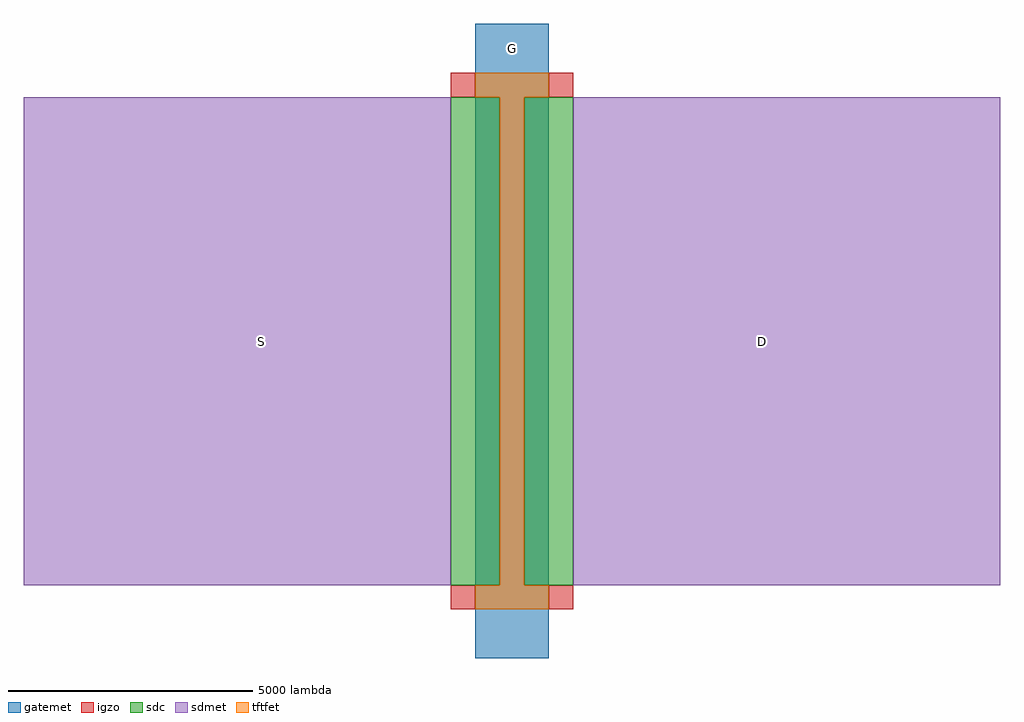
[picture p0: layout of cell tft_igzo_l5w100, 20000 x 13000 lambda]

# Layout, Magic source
magic
tech igzo_mmm_lab
<< igzo >>
rect -1250 5000 -750 5500
rect 750 5000 1250 5500
rect -1250 -5500 -750 -5000
rect 750 -5500 1250 -5000
<< tftfet >>
rect -750 5000 750 5500
rect -250 -5000 250 5000
rect -750 -5500 750 -5000
<< sdc >>
rect -1250 -5000 -250 5000
rect 250 -5000 1250 5000
<< sdmet >>
rect -10000 -5000 -1250 5000
rect 1250 -5000 10000 5000
<< gatemet >>
rect -750 -6500 750 6500
<< labels >>
rlabel sdmet s -5613 -488 -4637 488 4 S
port 3 nsew
rlabel sdmet s 4637 -488 5613 488 4 D
port 5 nsew
rlabel gatemet s -488 5512 488 6488 4 G
port 7 nsew
<< end >>
